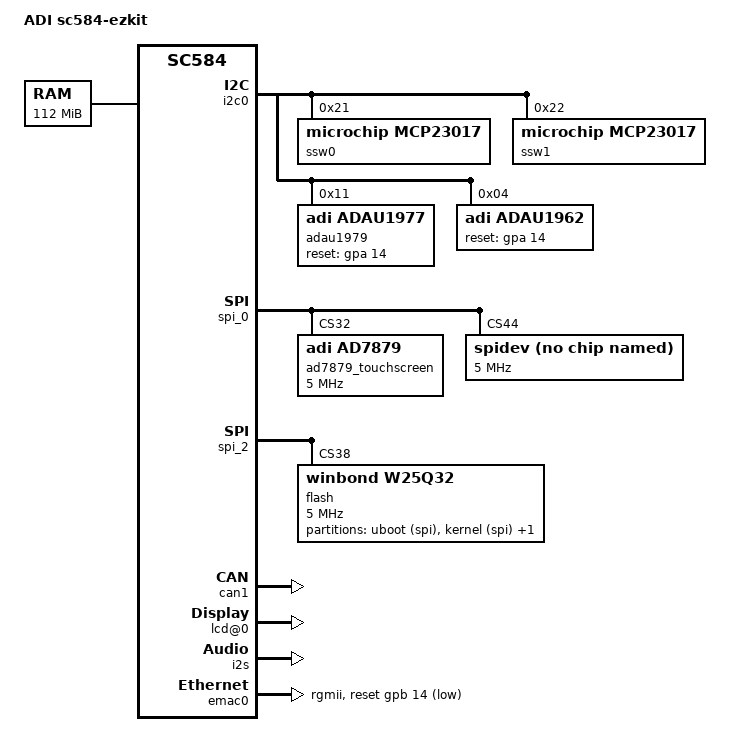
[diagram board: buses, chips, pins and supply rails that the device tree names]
/*
 * Device tree for ADI sc584-ezkit board
 *
 * Copyright 2014 Analog Devices Inc.
 *
 * Licensed under the GPL-2 or later.
 *
 */

/dts-v1/;

#include "sc58x.dtsi"

/ {
	model = "ADI sc584-ezkit";
	compatible = "adi,sc584-ezkit", "adi,sc58x";

	aliases {
		ethernet0 = &emac0;
	};

	memory@89000000 {
		device_type = "memory";
		reg = <0x89000000 0x7000000>;
	};

	scb {
		i2c0: twi@0x31001400 {
			#address-cells = <1>;
			#size-cells = <0>;
			compatible = "adi,twi";
			reg = <0x31001400 0xFF>;
			interrupts = <0 123 0>;
			clock-khz = <100>;
			ssw0: gpio@0x21 {
				compatible = "microchip,mcp23017";
				gpio-controller;
				#gpio-cells = <2>;
				reg = <0x21>;
			};
			ssw1: gpio@0x22 {
				compatible = "microchip,mcp23017";
				gpio-controller;
				#gpio-cells = <2>;
				reg = <0x22>;
			};
			adau1979: adau1979@0x11 {
				compatible = "adi,adau1977";
				reg = <0x11>;
				reset-gpio = <&gpa 14 0>;
			};
			adau1962: adau1962@0x4 {
				compatible = "adi,adau1962";
				reg = <0x4>;
				reset-gpio = <&gpa 14 0>;
			};
		};

		spi_0: spi@0x31042000 {
			#address-cells = <1>;
			#size-cells = <0>;
			compatible = "adi,spi3";
			reg = <0x31042000 0xFF>;
			interrupts = <0 109 0>;
			num-cs = <128>;
			dma-channel = <22>, <23>;
			pinctrl-names = "default";
			pinctrl-0 = <&spi0_default>;

			ad7879_touchscreen {
				#address-cells = <1>;
				#size-cells = <1>;
				compatible = "adi,ad7879";
				spi-max-frequency = <5000000>;
				reg = <32>;
				gpio = <49>;
				gpio-base = <102>;
				spi-cpha;
				spi-cpol;
			};

			spidev {
				#address-cells = <1>;
				#size-cells = <1>;
				compatible = "rohm,dh2228fv";
				spi-max-frequency = <5000000>;
				reg = <44>;
			};
		};

		spi_2: spi@0x31044000 {
			#address-cells = <1>;
			#size-cells = <0>;
			compatible = "adi,spi3";
			reg = <0x31044000 0xFF>;
			interrupts = <0 71 0>;
			num-cs = <128>;
			dma-channel = <26>, <27>;
			pinctrl-names = "default";
			pinctrl-0 = <&spi2_quad>;

			flash: w25q32@0 {
				#address-cells = <1>;
				#size-cells = <1>;
				compatible = "winbond,w25q32";
				spi-max-frequency = <5000000>;
				reg = <38>;
				spi-cpol;
				spi-cpha;
				spi-rx-bus-width = <4>;
				dma-mode;

				partition@0 {
					label = "uboot (spi)";
					reg = <0x0 0x80000>;
				};
				partition@1 {
					label = "kernel (spi)";
					reg = <0x80000 0x580000>;
				};
				partition@2 {
					label = "root file system (spi)";
					reg = <0x600000 0xa00000>;
				};
			};
		};

		can1: can@0x31000a00 {
			compatible = "adi,can";
			reg = <0x31000a00 0x5FF>;
			pinctrl-names = "default";
			pinctrl-0 = <&can1_default>;
			phy-name = "tja1145";
			phy-spibus = /bits/ 16 <0>;
			phy-spiclk = <1000000>;
			phy-spics = /bits/ 16 <44>;	/* GPIO_PC12 */
			interrupt-parent = <&gic>;
			interrupts = <0 87 0>,
				     <0 88 0>,
				     <0 89 0>;
		};

		rotary@0x3100B000 {
			#address-cells = <1>;
			#size-cells = <0>;
			compatible = "adi,rotary";
			reg = <0x3100B000 0xFF>;
			interrupts = <0 126 0>;
			rotary_rel_code = <0x08>;	/* REL_WHEEL */
			rotary_button_key = <28>;	/* KEY_ENTER */
			debounce = /bits/ 16 <10>;	/* 0..17 */
			debounce_en = /bits/ 16 <1>;
			cnt_mode = /bits/ 16 <0>;	/* CNTMODE_QUADENC */
			boundary_mode = /bits/ 16 <0>;	/* BNDMODE_COMP */
			invert_czm = /bits/ 16 <0>;
			invert_cud = /bits/ 16 <0>;
			invert_cdg = /bits/ 16 <0>;
		};

		lp0: linkport@0 {
			compatible = "linkport0";
			interrupt-parent = <&gic>;
			interrupts = <0 77 0>,
				     <0 78 0>;
			clock-div = <1>;
			pinctrl-names = "default";
			pinctrl-0 = <&lp0_default>;
		};

		lp1: linkport@1 {
			compatible = "linkport1";
			interrupt-parent = <&gic>;
			interrupts = <0 79 0>,
				     <0 80 0>;
			clock-div = <1>;
			pinctrl-names = "default";
			pinctrl-0 = <&lp1_default>;
		};

		lcd@0 {
			compatible = "sc58x,lcd";
			reg = <0x31040000 0xFF>;
			interrupts = <0 83 0>;
			dma-channel = <28>;
			cs-gpio = <39>;
			spu_securep_id = <95>;
			pinctrl-names = "default","ppi_16b","ppi_24b";
			pinctrl-0 = <&ppi0_8b>;
			pinctrl-1 = <&ppi0_16b>;
			pinctrl-2 = <&ppi0_24b>;
		};

		i2s: i2s@0 {
			compatible = "sc5xx,i2s-dai";
			reg = <0x31002400 0x80>, <0x31002480 0x80>;
			interrupts = <0 61 0>, <0 63 0>;
			dma-channel = <10>, <11>;
		};

		sound {
			compatible = "sc5xx,asoc-card";
			adi,cpu-dai = <&i2s>;
			adi,codec = <&adau1962>, <&adau1979>;
		};

		emac0: ethernet@0x3100C000 {
			compatible = "snps,dwmac", "snps,dwmac-3.710";
			reg = <0x3100C000 0x2000>;
			interrupt-parent = <&gic>;
			interrupts = <0 148 0>;
			interrupt-names = "macirq";
			snps,reset-gpio = <&gpb 14 0>;
			snps,reset-active-low;
			snps,reset-delays-us = <0 200 500>;
			snps,fixed-burst;
			snps,burst_len = <0x8>;	/* BLEN16 */
			snps,pbl = <2>;
			snps,force_sf_dma_mode;
			snps,perfect-filter-entries = <32>;
			phy-mode = "rgmii";
			clock-names = "stmmaceth";
			pinctrl-names = "default";
			pinctrl-0 = <&eth0_default>;
		};

		pinctrl@0 {
			ppi {
				ppi0_8b: ppi0@0 {
					adi,group = "ppi0_8bgrp";
					adi,function = "ppi0";
				};
				ppi0_16b: ppi0@1 {
					adi,group = "ppi0_16bgrp";
					adi,function = "ppi0";
				};
				ppi0_24b: ppi0@2 {
					adi,group = "ppi0_24bgrp";
					adi,function = "ppi0";
				};
			};

			linkport {
				lp0_default: lp0@0 {
					adi,group = "lp0grp";
					adi,function = "lp0";
				};
				lp1_default: lp1@0 {
					adi,group = "lp1grp";
					adi,function = "lp1";
				};
			};

			eth {
				eth0_default: eth0@0 {
					adi,group = "eth0grp";
					adi,function = "eth0";
				};
			};


		};
	};
};
